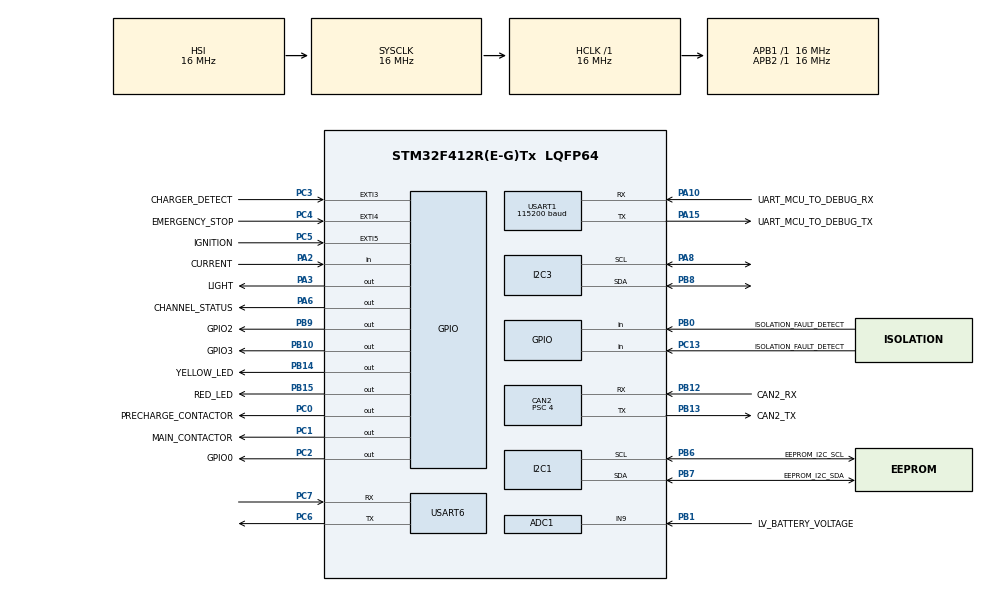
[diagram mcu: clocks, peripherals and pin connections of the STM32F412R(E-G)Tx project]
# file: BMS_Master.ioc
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ADC1.Channel-3\#ChannelRegularConversion=ADC_CHANNEL_9
ADC1.NbrOfConversionFlag=1
ADC1.Rank-3\#ChannelRegularConversion=1
ADC1.SamplingTime-3\#ChannelRegularConversion=ADC_SAMPLETIME_3CYCLES
ADC1.master=1
CAN2.BS1=CAN_BS1_13TQ
CAN2.BS2=CAN_BS2_2TQ
CAN2.CalculateBaudRate=250000
CAN2.CalculateTimeBit=4000
CAN2.CalculateTimeQuantum=250.0
CAN2.Mode=CAN_MODE_NORMAL
CAN2.Prescaler=4
CAN2.TXFP=ENABLE
Mcu.Family=STM32F4
Mcu.Name=STM32F412R(E-G)Tx
Mcu.Package=LQFP64
Mcu.UserConstants=COUNTER_100MS,1600;COUNTER_10MS,160;PSC_1000,999;COUNTER_50MS,800
NVIC.CAN2_RX0_IRQn=true\:0\:0\:false\:false\:true\:true\:true\:true
NVIC.CAN2_TX_IRQn=true\:0\:0\:false\:false\:true\:true\:true\:true
NVIC.EXTI3_IRQn=true\:0\:0\:false\:false\:true\:true\:true\:true
NVIC.EXTI4_IRQn=true\:0\:0\:false\:false\:true\:true\:true\:true
NVIC.EXTI9_5_IRQn=true\:0\:0\:false\:false\:true\:true\:true\:true
NVIC.PriorityGroup=NVIC_PRIORITYGROUP_4
NVIC.TIM2_IRQn=true\:0\:0\:false\:false\:true\:true\:true\:true
NVIC.TIM3_IRQn=true\:0\:0\:false\:false\:true\:true\:true\:true
NVIC.USART1_IRQn=true\:0\:0\:false\:false\:true\:true\:true\:true
PA10.GPIO_Label=UART_MCU_TO_DEBUG_RX
PA10.Mode=Asynchronous
PA10.Signal=USART1_RX
PA11.Signal=USB_OTG_FS_DM
PA12.Signal=USB_OTG_FS_DP
PA13.Mode=Trace_Asynchronous_SW
PA13.Signal=SYS_JTMS-SWDIO
PA14.Mode=Trace_Asynchronous_SW
PA14.Signal=SYS_JTCK-SWCLK
PA15.GPIO_Label=UART_MCU_TO_DEBUG_TX
PA15.Mode=Asynchronous
PA15.Signal=USART1_TX
PA2.GPIO_Label=CURRENT
PA2.Signal=GPIO_Input
PA3.GPIO_Label=LIGHT
PA3.Signal=GPIO_Output
PA6.GPIO_Label=CHANNEL_STATUS
PA6.Signal=GPIO_Output
PA8.Mode=I2C
PA8.Signal=I2C3_SCL
PB0.GPIO_Label=ISOLATION_FAULT_DETECT
PB0.Signal=GPIO_Input
PB1.GPIO_Label=LV_BATTERY_VOLTAGE
PB1.Signal=SharedAnalog_PB1
PB10.GPIO_Label=GPIO3
PB10.Signal=GPIO_Output
PB12.GPIO_Label=CAN2_RX
PB12.GPIO_Mode=GPIO_MODE_AF_PP
PB12.GPIO_PuPd=GPIO_PULLUP
PB12.GPIO_Speed=GPIO_SPEED_FREQ_VERY_HIGH
PB12.Mode=CAN_Activate
PB12.Signal=CAN2_RX
PB13.GPIO_Label=CAN2_TX
PB13.GPIO_Mode=GPIO_MODE_AF_PP
PB13.GPIO_PuPd=GPIO_PULLUP
PB13.GPIO_Speed=GPIO_SPEED_FREQ_VERY_HIGH
PB13.Mode=CAN_Activate
PB13.Signal=CAN2_TX
PB14.GPIO_Label=YELLOW_LED
PB14.Signal=GPIO_Output
PB15.GPIO_Label=RED_LED
PB15.Signal=GPIO_Output
PB3.Mode=Trace_Asynchronous_SW
PB3.Signal=SYS_JTDO-SWO
PB6.GPIO_Label=EEPROM_I2C_SCL
PB6.Mode=I2C
PB6.Signal=I2C1_SCL
PB7.GPIO_Label=EEPROM_I2C_SDA
PB7.Mode=I2C
PB7.Signal=I2C1_SDA
PB8.Mode=I2C
PB8.Signal=I2C3_SDA
PB9.GPIO_Label=GPIO2
PB9.Signal=GPIO_Output
PC0.GPIO_Label=PRECHARGE_CONTACTOR
PC0.Signal=GPIO_Output
PC1.GPIO_Label=MAIN_CONTACTOR
PC1.Signal=GPIO_Output
PC10.Signal=SDIO_D2
PC11.Signal=SDIO_D3
PC12.Signal=SDIO_CK
PC13.GPIO_Label=ISOLATION_FAULT_DETECT
PC13.Signal=GPIO_Input
PC2.GPIO_Label=GPIO0
PC2.Signal=GPIO_Output
PC3.GPIO_Label=CHARGER_DETECT
PC3.GPIO_ModeDefaultEXTI=GPIO_MODE_IT_RISING_FALLING
PC3.Signal=GPXTI3
PC4.GPIO_Label=EMERGENCY_STOP
PC4.GPIO_ModeDefaultEXTI=GPIO_MODE_IT_FALLING
PC4.Signal=GPXTI4
PC5.GPIO_Label=IGNITION
PC5.GPIO_ModeDefaultEXTI=GPIO_MODE_IT_RISING_FALLING
PC5.GPIO_PuPd=GPIO_PULLDOWN
PC5.Signal=GPXTI5
PC6.Mode=IrDA
PC6.Signal=USART6_TX
PC7.Mode=IrDA
PC7.Signal=USART6_RX
PC8.Signal=SDIO_D0
PC9.Signal=SDIO_D1
PD2.Signal=SDIO_CMD
ProjectManager.HeapSize=0x200
ProjectManager.StackSize=0x400
ProjectManager.TargetToolchain=STM32CubeIDE
RCC.AHBFreq_Value=16000000
RCC.APB1Freq_Value=16000000
RCC.APB1TimFreq_Value=16000000
RCC.APB2Freq_Value=16000000
RCC.APB2TimFreq_Value=16000000
RCC.CortexFreq_Value=16000000
RCC.HCLKFreq_Value=16000000
RCC.HSE_VALUE=25000000
RCC.PLLI2SM=15
RCC.PLLI2SN=180
RCC.PLLI2SQ=4
RCC.PLLM=2
RCC.PLLN=120
RCC.PLLQ=5
RCC.SDIOCLockSelection=RCC_SDIOCLKSOURCE_SYSCLK
RCC.SYSCLKFreq_VALUE=16000000
RCC.USBCLockSelection=RCC_CLK48CLKSOURCE_PLLI2SQ
RCC.USBFreq_Value=48000000
RCC.VCOOutputFreq_Value=960000000
SH.SharedAnalog_PB1.0=GPIO_Analog
SH.SharedAnalog_PB1.1=ADC1_IN9,IN9
TIM2.Period=160
TIM2.Prescaler=999
TIM3.ClockDivision=TIM_CLOCKDIVISION_DIV1
TIM3.Period=COUNTER_50MS
TIM3.Prescaler=PSC_1000
USART1.BaudRate=115200
USART1.VirtualMode=VM_ASYNC
USART6.VirtualMode=VM_IRDA
VP_TIM2_VS_ClockSourceINT.Mode=Internal
VP_TIM3_VS_ClockSourceINT.Mode=Internal
board=custom

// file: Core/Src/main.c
/* USER CODE BEGIN Header */
/**
 ******************************************************************************
 * @file           : main.c
 * @brief          : Main program body
 ******************************************************************************
 * @attention
 *
 * Copyright (c) 2025 STMicroelectronics.
 * All rights reserved.
 *
 * This software is licensed under terms that can be found in the LICENSE file
 * in the root directory of this software component.
 * If no LICENSE file comes with this software, it is provided AS-IS.
 *
 ******************************************************************************
 */
/* USER CODE END Header */
#include "main.h"

/* USER CODE BEGIN Includes */
#include "in_op.h"
#include "charger.h"
#include "can_bus.h"
#include "misc.h"

/* USER CODE END Includes */

ADC_HandleTypeDef hadc1;

CAN_HandleTypeDef hcan2;

I2C_HandleTypeDef hi2c1;
I2C_HandleTypeDef hi2c3;

TIM_HandleTypeDef htim2;
TIM_HandleTypeDef htim3;

UART_HandleTypeDef huart1;
IRDA_HandleTypeDef hirda6;

/* USER CODE BEGIN PV */
return_mess_t voltage_info_list[NUM_OF_SLAVES];
return_mess_t temperature_info_list[NUM_OF_SLAVES];
return_mess_t balancing_info_list[NUM_OF_SLAVES];

uint8_t master_mode = 0; // 0: Standby, 1: Charge/Balancing 2: In Operation

volatile uint16_t timer_count = 0;

volatile uint8_t all_connection_states = 0; // b0:ignition, b1:charger, b2:EmgcyStop
volatile uint8_t blinking_HV_led = 0; //0: No blinking, 1: Slow blinking, 2: Fast blinking

uint8_t message_i = 0;

/* USER CODE END PV */

void SystemClock_Config(void);
static void MX_GPIO_Init(void);
static void MX_CAN2_Init(void);
static void MX_I2C1_Init(void);
static void MX_I2C3_Init(void);
static void MX_USART6_IRDA_Init(void);
static void MX_ADC1_Init(void);
static void MX_USART1_UART_Init(void);
static void MX_TIM2_Init(void);
static void MX_TIM3_Init(void);
/* USER CODE BEGIN PFP */
void ITM_Init(void);
/* USER CODE END PFP */

int main(void)
{

	/* MCU Configuration--------------------------------------------------------*/

	/* Reset of all peripherals, Initializes the Flash interface and the Systick. */
	HAL_Init();

	/* Configure the system clock */
	SystemClock_Config();

	/* Initialize all configured peripherals */
	MX_GPIO_Init();
	MX_CAN2_Init();
	MX_I2C1_Init();
	MX_I2C3_Init();
	MX_USART6_IRDA_Init();
	MX_ADC1_Init();
	MX_USART1_UART_Init();
	MX_TIM2_Init();
	MX_TIM3_Init();
	/* USER CODE BEGIN 2 */

	HAL_TIM_Base_Start_IT(&htim2); //Start Main timer (10 ms)

	init_slave_info_lists(); //Initialize all fields that will retain messages coming from slaves

	ITM_Init(); // Init ITM to send data through ITM port 0

		uint8_t TxData[2] = {1,2};

	/* USER CODE END 2 */

	/* Infinite loop */
	while (1)
	{

		/* USER CODE BEGIN 3 */

		//		If charger is connected, go into balancing and charging mode
//		if((all_connection_states & CHARGER_CONN_MASK) != 0){
//
//			charging_balancing_mode();
//
//			//		If charger not connected and ignition ON, go into in operation mode
//		}else if((all_connection_states & IGNITION_MASK) != 0){
//
//			in_operation_mode();
//
//		}

		CAN_send_mess(&hcan2, TxData);

		master_mode = STANDBY_MODE;
		HAL_Delay(MAIN_LOOP_DELAY_MS);

	}
	/* USER CODE END 3 */
}

void SystemClock_Config(void)
{
	RCC_OscInitTypeDef RCC_OscInitStruct = {0};
	RCC_ClkInitTypeDef RCC_ClkInitStruct = {0};

	/** Configure the main internal regulator output voltage
	 */
	__HAL_RCC_PWR_CLK_ENABLE();
	__HAL_PWR_VOLTAGESCALING_CONFIG(PWR_REGULATOR_VOLTAGE_SCALE1);

	/** Initializes the RCC Oscillators according to the specified parameters
	 * in the RCC_OscInitTypeDef structure.
	 */
	RCC_OscInitStruct.OscillatorType = RCC_OSCILLATORTYPE_HSI;
	RCC_OscInitStruct.HSIState = RCC_HSI_ON;
	RCC_OscInitStruct.HSICalibrationValue = RCC_HSICALIBRATION_DEFAULT;
	RCC_OscInitStruct.PLL.PLLState = RCC_PLL_NONE;
	if (HAL_RCC_OscConfig(&RCC_OscInitStruct) != HAL_OK)
	{
		Error_Handler();
	}

	/** Initializes the CPU, AHB and APB buses clocks
	 */
	RCC_ClkInitStruct.ClockType = RCC_CLOCKTYPE_HCLK|RCC_CLOCKTYPE_SYSCLK
			|RCC_CLOCKTYPE_PCLK1|RCC_CLOCKTYPE_PCLK2;
	RCC_ClkInitStruct.SYSCLKSource = RCC_SYSCLKSOURCE_HSI;
	RCC_ClkInitStruct.AHBCLKDivider = RCC_SYSCLK_DIV1;
	RCC_ClkInitStruct.APB1CLKDivider = RCC_HCLK_DIV1;
	RCC_ClkInitStruct.APB2CLKDivider = RCC_HCLK_DIV1;

	if (HAL_RCC_ClockConfig(&RCC_ClkInitStruct, FLASH_LATENCY_0) != HAL_OK)
	{
		Error_Handler();
	}
}

static void MX_ADC1_Init(void)
{

	ADC_ChannelConfTypeDef sConfig = {0};

	/** Configure the global features of the ADC (Clock, Resolution, Data Alignment and number of conversion)
	 */
	hadc1.Instance = ADC1;
	hadc1.Init.ClockPrescaler = ADC_CLOCK_SYNC_PCLK_DIV2;
	hadc1.Init.Resolution = ADC_RESOLUTION_12B;
	hadc1.Init.ScanConvMode = DISABLE;
	hadc1.Init.ContinuousConvMode = DISABLE;
	hadc1.Init.DiscontinuousConvMode = DISABLE;
	hadc1.Init.ExternalTrigConvEdge = ADC_EXTERNALTRIGCONVEDGE_NONE;
	hadc1.Init.ExternalTrigConv = ADC_SOFTWARE_START;
	hadc1.Init.DataAlign = ADC_DATAALIGN_RIGHT;
	hadc1.Init.NbrOfConversion = 1;
	hadc1.Init.DMAContinuousRequests = DISABLE;
	hadc1.Init.EOCSelection = ADC_EOC_SINGLE_CONV;
	if (HAL_ADC_Init(&hadc1) != HAL_OK)
	{
		Error_Handler();
	}

	/** Configure for the selected ADC regular channel its corresponding rank in the sequencer and its sample time.
	 */
	sConfig.Channel = ADC_CHANNEL_9;
	sConfig.Rank = 1;
	sConfig.SamplingTime = ADC_SAMPLETIME_3CYCLES;
	if (HAL_ADC_ConfigChannel(&hadc1, &sConfig) != HAL_OK)
	{
		Error_Handler();
	}

}

static void MX_CAN2_Init(void)
{

	/* USER CODE BEGIN CAN2_Init 0 */
	__HAL_RCC_CAN1_CLK_ENABLE();

	/* USER CODE END CAN2_Init 0 */

	hcan2.Instance = CAN2;
	hcan2.Init.Prescaler = 4;
	hcan2.Init.Mode = CAN_MODE_NORMAL;
	hcan2.Init.SyncJumpWidth = CAN_SJW_1TQ;
	hcan2.Init.TimeSeg1 = CAN_BS1_13TQ;
	hcan2.Init.TimeSeg2 = CAN_BS2_2TQ;
	hcan2.Init.TimeTriggeredMode = DISABLE;
	hcan2.Init.AutoBusOff = DISABLE;
	hcan2.Init.AutoWakeUp = DISABLE;
	hcan2.Init.AutoRetransmission = DISABLE;
	hcan2.Init.ReceiveFifoLocked = DISABLE;
	hcan2.Init.TransmitFifoPriority = ENABLE;
	if (HAL_CAN_Init(&hcan2) != HAL_OK)
	{
		Error_Handler();
	}
	/* USER CODE BEGIN CAN2_Init 2 */

	CAN_Filter_Config(&hcan2);
	CAN_Activate_Interrupts(&hcan2);

	/* USER CODE END CAN2_Init 2 */

}

static void MX_I2C1_Init(void)
{

	hi2c1.Instance = I2C1;
	hi2c1.Init.ClockSpeed = 100000;
	hi2c1.Init.DutyCycle = I2C_DUTYCYCLE_2;
	hi2c1.Init.OwnAddress1 = 0;
	hi2c1.Init.AddressingMode = I2C_ADDRESSINGMODE_7BIT;
	hi2c1.Init.DualAddressMode = I2C_DUALADDRESS_DISABLE;
	hi2c1.Init.OwnAddress2 = 0;
	hi2c1.Init.GeneralCallMode = I2C_GENERALCALL_DISABLE;
	hi2c1.Init.NoStretchMode = I2C_NOSTRETCH_DISABLE;
	if (HAL_I2C_Init(&hi2c1) != HAL_OK)
	{
		Error_Handler();
	}

}

static void MX_I2C3_Init(void)
{

	hi2c3.Instance = I2C3;
	hi2c3.Init.ClockSpeed = 100000;
	hi2c3.Init.DutyCycle = I2C_DUTYCYCLE_2;
	hi2c3.Init.OwnAddress1 = 0;
	hi2c3.Init.AddressingMode = I2C_ADDRESSINGMODE_7BIT;
	hi2c3.Init.DualAddressMode = I2C_DUALADDRESS_DISABLE;
	hi2c3.Init.OwnAddress2 = 0;
	hi2c3.Init.GeneralCallMode = I2C_GENERALCALL_DISABLE;
	hi2c3.Init.NoStretchMode = I2C_NOSTRETCH_DISABLE;
	if (HAL_I2C_Init(&hi2c3) != HAL_OK)
	{
		Error_Handler();
	}

}

static void MX_TIM2_Init(void)
{

	TIM_ClockConfigTypeDef sClockSourceConfig = {0};
	TIM_MasterConfigTypeDef sMasterConfig = {0};

	htim2.Instance = TIM2;
	htim2.Init.Prescaler = 999;
	htim2.Init.CounterMode = TIM_COUNTERMODE_UP;
	htim2.Init.Period = 160;
	htim2.Init.ClockDivision = TIM_CLOCKDIVISION_DIV1;
	htim2.Init.AutoReloadPreload = TIM_AUTORELOAD_PRELOAD_DISABLE;
	if (HAL_TIM_Base_Init(&htim2) != HAL_OK)
	{
		Error_Handler();
	}
	sClockSourceConfig.ClockSource = TIM_CLOCKSOURCE_INTERNAL;
	if (HAL_TIM_ConfigClockSource(&htim2, &sClockSourceConfig) != HAL_OK)
	{
		Error_Handler();
	}
	sMasterConfig.MasterOutputTrigger = TIM_TRGO_RESET;
	sMasterConfig.MasterSlaveMode = TIM_MASTERSLAVEMODE_DISABLE;
	if (HAL_TIMEx_MasterConfigSynchronization(&htim2, &sMasterConfig) != HAL_OK)
	{
		Error_Handler();
	}

}

static void MX_TIM3_Init(void)
{

	TIM_ClockConfigTypeDef sClockSourceConfig = {0};
	TIM_MasterConfigTypeDef sMasterConfig = {0};

	htim3.Instance = TIM3;
	htim3.Init.Prescaler = PSC_1000;
	htim3.Init.CounterMode = TIM_COUNTERMODE_UP;
	htim3.Init.Period = COUNTER_50MS;
	htim3.Init.ClockDivision = TIM_CLOCKDIVISION_DIV1;
	htim3.Init.AutoReloadPreload = TIM_AUTORELOAD_PRELOAD_DISABLE;
	if (HAL_TIM_Base_Init(&htim3) != HAL_OK)
	{
		Error_Handler();
	}
	sClockSourceConfig.ClockSource = TIM_CLOCKSOURCE_INTERNAL;
	if (HAL_TIM_ConfigClockSource(&htim3, &sClockSourceConfig) != HAL_OK)
	{
		Error_Handler();
	}
	sMasterConfig.MasterOutputTrigger = TIM_TRGO_RESET;
	sMasterConfig.MasterSlaveMode = TIM_MASTERSLAVEMODE_DISABLE;
	if (HAL_TIMEx_MasterConfigSynchronization(&htim3, &sMasterConfig) != HAL_OK)
	{
		Error_Handler();
	}

}

static void MX_USART1_UART_Init(void)
{

	huart1.Instance = USART1;
	huart1.Init.BaudRate = 115200;
	huart1.Init.WordLength = UART_WORDLENGTH_8B;
	huart1.Init.StopBits = UART_STOPBITS_1;
	huart1.Init.Parity = UART_PARITY_NONE;
	huart1.Init.Mode = UART_MODE_TX_RX;
	huart1.Init.HwFlowCtl = UART_HWCONTROL_NONE;
	huart1.Init.OverSampling = UART_OVERSAMPLING_16;
	if (HAL_UART_Init(&huart1) != HAL_OK)
	{
		Error_Handler();
	}

}

static void MX_USART6_IRDA_Init(void)
{

	hirda6.Instance = USART6;
	hirda6.Init.BaudRate = 115200;
	hirda6.Init.WordLength = IRDA_WORDLENGTH_8B;
	hirda6.Init.Parity = IRDA_PARITY_NONE;
	hirda6.Init.Mode = IRDA_MODE_TX_RX;
	hirda6.Init.Prescaler = 1;
	hirda6.Init.IrDAMode = IRDA_POWERMODE_NORMAL;
	if (HAL_IRDA_Init(&hirda6) != HAL_OK)
	{
		Error_Handler();
	}

}

static void MX_GPIO_Init(void)
{
	GPIO_InitTypeDef GPIO_InitStruct = {0};

	/* GPIO Ports Clock Enable */
	__HAL_RCC_GPIOC_CLK_ENABLE();
	__HAL_RCC_GPIOA_CLK_ENABLE();
	__HAL_RCC_GPIOB_CLK_ENABLE();
	__HAL_RCC_GPIOD_CLK_ENABLE();

	/*Configure GPIO pin Output Level */
	HAL_GPIO_WritePin(GPIOC, PRECHARGE_CONTACTOR_Pin|MAIN_CONTACTOR_Pin|GPIO0_Pin, GPIO_PIN_RESET);

	/*Configure GPIO pin Output Level */
	HAL_GPIO_WritePin(GPIOA, LIGHT_Pin|CHANNEL_STATUS_Pin, GPIO_PIN_RESET);

	/*Configure GPIO pin Output Level */
	HAL_GPIO_WritePin(GPIOB, GPIO3_Pin|YELLOW_LED_Pin|RED_LED_Pin|GPIO2_Pin, GPIO_PIN_RESET);

	/*Configure GPIO pin : ISOLATION_FAULT_DETECT_Pin */
	GPIO_InitStruct.Pin = ISOLATION_FAULT_DETECT_Pin;
	GPIO_InitStruct.Mode = GPIO_MODE_INPUT;
	GPIO_InitStruct.Pull = GPIO_NOPULL;
	HAL_GPIO_Init(ISOLATION_FAULT_DETECT_GPIO_Port, &GPIO_InitStruct);

	/*Configure GPIO pins : PRECHARGE_CONTACTOR_Pin MAIN_CONTACTOR_Pin GPIO0_Pin */
	GPIO_InitStruct.Pin = PRECHARGE_CONTACTOR_Pin|MAIN_CONTACTOR_Pin|GPIO0_Pin;
	GPIO_InitStruct.Mode = GPIO_MODE_OUTPUT_PP;
	GPIO_InitStruct.Pull = GPIO_NOPULL;
	GPIO_InitStruct.Speed = GPIO_SPEED_FREQ_LOW;
	HAL_GPIO_Init(GPIOC, &GPIO_InitStruct);

	/*Configure GPIO pin : CHARGER_DETECT_Pin */
	GPIO_InitStruct.Pin = CHARGER_DETECT_Pin;
	GPIO_InitStruct.Mode = GPIO_MODE_IT_RISING_FALLING;
	GPIO_InitStruct.Pull = GPIO_NOPULL;
	HAL_GPIO_Init(CHARGER_DETECT_GPIO_Port, &GPIO_InitStruct);

	/*Configure GPIO pin : CURRENT_Pin */
	GPIO_InitStruct.Pin = CURRENT_Pin;
	GPIO_InitStruct.Mode = GPIO_MODE_INPUT;
	GPIO_InitStruct.Pull = GPIO_NOPULL;
	HAL_GPIO_Init(CURRENT_GPIO_Port, &GPIO_InitStruct);

	/*Configure GPIO pins : LIGHT_Pin CHANNEL_STATUS_Pin */
	GPIO_InitStruct.Pin = LIGHT_Pin|CHANNEL_STATUS_Pin;
	GPIO_InitStruct.Mode = GPIO_MODE_OUTPUT_PP;
	GPIO_InitStruct.Pull = GPIO_NOPULL;
	GPIO_InitStruct.Speed = GPIO_SPEED_FREQ_LOW;
	HAL_GPIO_Init(GPIOA, &GPIO_InitStruct);

	/*Configure GPIO pin : EMERGENCY_STOP_Pin */
	GPIO_InitStruct.Pin = EMERGENCY_STOP_Pin;
	GPIO_InitStruct.Mode = GPIO_MODE_IT_FALLING;
	GPIO_InitStruct.Pull = GPIO_NOPULL;
	HAL_GPIO_Init(EMERGENCY_STOP_GPIO_Port, &GPIO_InitStruct);

	/*Configure GPIO pin : IGNITION_Pin */
	GPIO_InitStruct.Pin = IGNITION_Pin;
	GPIO_InitStruct.Mode = GPIO_MODE_IT_RISING_FALLING;
	GPIO_InitStruct.Pull = GPIO_PULLDOWN;
	HAL_GPIO_Init(IGNITION_GPIO_Port, &GPIO_InitStruct);

	/*Configure GPIO pin : ISOLATION_FAULT_DETECTB0_Pin */
	GPIO_InitStruct.Pin = ISOLATION_FAULT_DETECTB0_Pin;
	GPIO_InitStruct.Mode = GPIO_MODE_INPUT;
	GPIO_InitStruct.Pull = GPIO_NOPULL;
	HAL_GPIO_Init(ISOLATION_FAULT_DETECTB0_GPIO_Port, &GPIO_InitStruct);

	/*Configure GPIO pins : GPIO3_Pin YELLOW_LED_Pin RED_LED_Pin GPIO2_Pin */
	GPIO_InitStruct.Pin = GPIO3_Pin|YELLOW_LED_Pin|RED_LED_Pin|GPIO2_Pin;
	GPIO_InitStruct.Mode = GPIO_MODE_OUTPUT_PP;
	GPIO_InitStruct.Pull = GPIO_NOPULL;
	GPIO_InitStruct.Speed = GPIO_SPEED_FREQ_LOW;
	HAL_GPIO_Init(GPIOB, &GPIO_InitStruct);

	/*Configure GPIO pins : PC8 PC9 PC10 PC11
                           PC12 */
	GPIO_InitStruct.Pin = GPIO_PIN_8|GPIO_PIN_9|GPIO_PIN_10|GPIO_PIN_11
			|GPIO_PIN_12;
	GPIO_InitStruct.Mode = GPIO_MODE_AF_PP;
	GPIO_InitStruct.Pull = GPIO_NOPULL;
	GPIO_InitStruct.Speed = GPIO_SPEED_FREQ_VERY_HIGH;
	GPIO_InitStruct.Alternate = GPIO_AF12_SDIO;
	HAL_GPIO_Init(GPIOC, &GPIO_InitStruct);

	/*Configure GPIO pins : PA11 PA12 */
	GPIO_InitStruct.Pin = GPIO_PIN_11|GPIO_PIN_12;
	GPIO_InitStruct.Mode = GPIO_MODE_AF_PP;
	GPIO_InitStruct.Pull = GPIO_NOPULL;
	GPIO_InitStruct.Speed = GPIO_SPEED_FREQ_VERY_HIGH;
	GPIO_InitStruct.Alternate = GPIO_AF10_OTG_FS;
	HAL_GPIO_Init(GPIOA, &GPIO_InitStruct);

	/*Configure GPIO pin : PD2 */
	GPIO_InitStruct.Pin = GPIO_PIN_2;
	GPIO_InitStruct.Mode = GPIO_MODE_AF_PP;
	GPIO_InitStruct.Pull = GPIO_NOPULL;
	GPIO_InitStruct.Speed = GPIO_SPEED_FREQ_VERY_HIGH;
	GPIO_InitStruct.Alternate = GPIO_AF12_SDIO;
	HAL_GPIO_Init(GPIOD, &GPIO_InitStruct);

	/* EXTI interrupt init*/
	HAL_NVIC_SetPriority(EXTI3_IRQn, 0, 0);
	HAL_NVIC_EnableIRQ(EXTI3_IRQn);

	HAL_NVIC_SetPriority(EXTI4_IRQn, 0, 0);
	HAL_NVIC_EnableIRQ(EXTI4_IRQn);

	HAL_NVIC_SetPriority(EXTI9_5_IRQn, 0, 0);
	HAL_NVIC_EnableIRQ(EXTI9_5_IRQn);

	/* USER CODE BEGIN MX_GPIO_Init_2 */
	GPIO_InitStruct.Pin = CAN2_RX_Pin;
	GPIO_InitStruct.Mode = GPIO_AF9_CAN2;
	GPIO_InitStruct.Pull = GPIO_NOPULL;
	HAL_GPIO_Init(CAN2_RX_GPIO_Port, &GPIO_InitStruct);

	GPIO_InitStruct.Pin = CAN2_TX_Pin;
	GPIO_InitStruct.Mode = GPIO_AF9_CAN2;
	GPIO_InitStruct.Pull = GPIO_NOPULL;
	HAL_GPIO_Init(CAN2_TX_GPIO_Port, &GPIO_InitStruct);

	HAL_NVIC_SetPriority(CAN2_RX0_IRQn, 0, 0);
	HAL_NVIC_EnableIRQ(CAN2_RX0_IRQn);
	/* USER CODE END MX_GPIO_Init_2 */
}

/* USER CODE BEGIN 4 */

void ITM_Init(void) {
	// Enable the ITM (Instrumentation Trace Macrocell)
	ITM->TCR = ITM_TCR_ITMENA_Msk;        // Enable ITM
	ITM->TPR = 0x0;                       // Set privilege level to 0 (default)
	ITM->TER = 0x01;                      // Enable stimulus 0 (SWO)
}

/* USER CODE END 4 */

void Error_Handler(void)
{
	__disable_irq();
	while (1)
	{
	}
}
